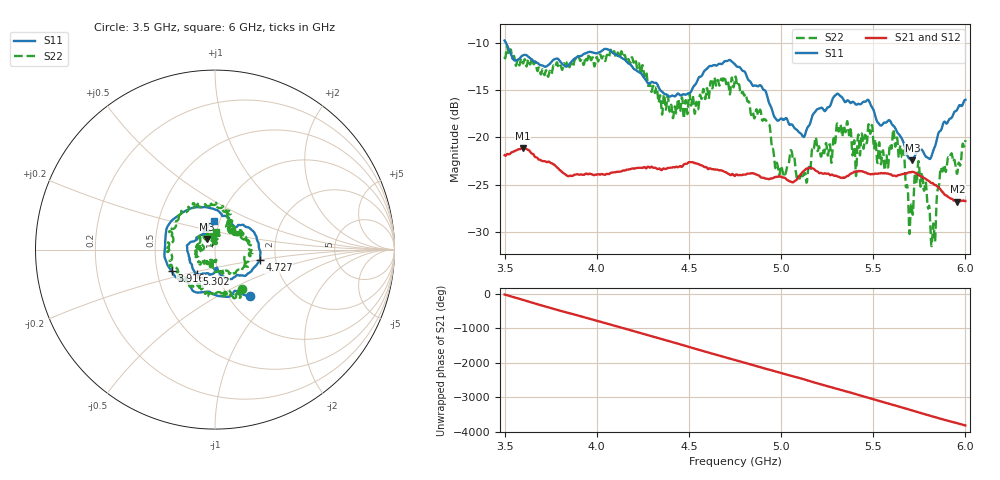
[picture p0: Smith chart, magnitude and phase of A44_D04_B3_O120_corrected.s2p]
! Created with skrf 1.9.0 (http://scikit-rf.org).
# Hz S RI R 50.0
!freq ReS11 ImS11 ReS21 ImS21 ReS12 ImS12 ReS22 ImS22
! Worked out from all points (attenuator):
!   1601 points, 3.5 GHz to 6 GHz, reference 50 ohm
!   highest |S21| = -21.12 dB at 3.598 GHz (marker M1); lowest = -26.8 dB at 5.956 GHz (marker M2)
!   lowest |S11| = -22.4 dB at 5.713 GHz (marker M3), VSWR 1.16, Z = 45.2 + j5.38 ohm
!   |S11| at or under -10 dB: 3.508 GHz to end of sweep
!   |S22| runs from -31.5 to -10.4 dB; largest |S21 - S12| = 0.00096
!   S11 on the Smith chart (normalised r, x): 3.5 GHz: 1.25, -0.73; 3.916 GHz: 0.60, -0.15; 4.727 GHz: 1.64, -0.21; 5.302 GHz: 0.79, -0.22; 6 GHz: 0.94, +0.30
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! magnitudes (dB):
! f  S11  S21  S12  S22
! 3.5 GHz  -9.7  -21.9  -21.9  -11.5
! 3.598 GHz  -11.3  -21.1  -21.1  -12.1
! 3.916 GHz  -11.4  -23.9  -23.9  -11.8
! 3.917 GHz  -11.4  -23.9  -23.9  -11.7
! 4.142 GHz  -11.7  -23.5  -23.5  -11.5
! 4.334 GHz  -14.6  -23.3  -23.3  -16.2
! 4.422 GHz  -15.7  -23.2  -23.1  -16.8
! 4.727 GHz  -11.9  -24.0  -23.9  -14.8
! 4.75 GHz  -12.3  -24.1  -24.0  -13.8
! 4.928 GHz  -15.9  -24.4  -24.4  -18.5
! 4.981 GHz  -18.2  -24.2  -24.1  -23.0
! 5.167 GHz  -17.9  -23.3  -23.2  -21.4
! 5.302 GHz  -15.4  -24.1  -24.0  -18.7
! 5.584 GHz  -18.2  -23.9  -23.8  -22.2
! 5.656 GHz  -20.2  -23.9  -23.8  -22.1
! 5.689 GHz  -22.1  -23.7  -23.7  -26.0
! 5.713 GHz  -22.4  -23.7  -23.6  -28.0
! 5.755 GHz  -21.3  -24.1  -24.0  -24.8
! 5.825 GHz  -21.5  -24.9  -24.8  -29.3
! 5.873 GHz  -18.9  -25.7  -25.7  -23.6
! 5.956 GHz  -17.0  -26.8  -26.7  -23.8
! 6 GHz  -16.0  -26.7  -26.7  -20.3
